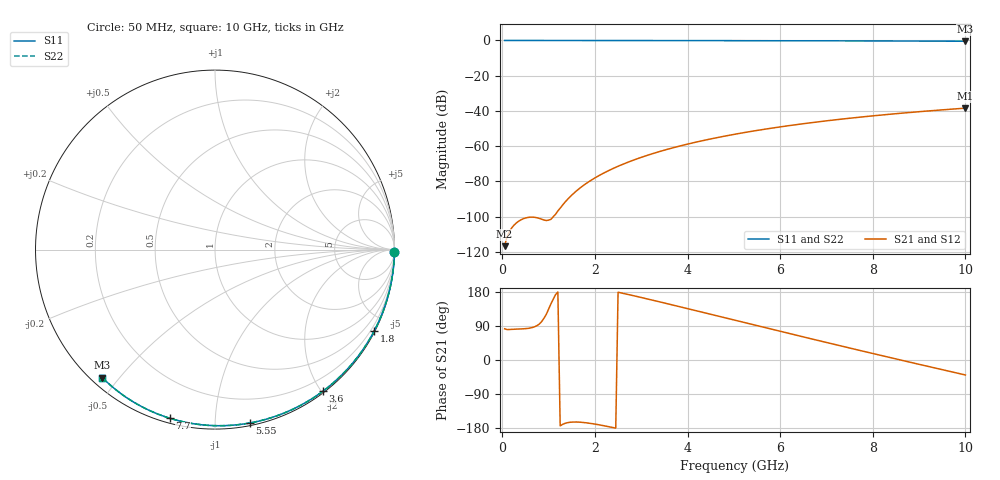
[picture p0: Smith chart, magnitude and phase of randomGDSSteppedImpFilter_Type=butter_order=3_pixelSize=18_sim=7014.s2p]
! freq	dB(S11)	phase(S11)	dB(S12)	phase(S12)
!  dB(S21)	phase(S21)	dB(S22)	phase(S22)
!S-par simulation data
#  GHz  S  DB  R 50
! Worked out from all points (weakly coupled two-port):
!   200 points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, 50 MHz to 10 GHz, reference 50 ohm
!   highest |S21| = -38.45 dB at 10 GHz (marker M1); lowest = -116.8 dB at 50 MHz (marker M2)
!   lowest |S11| = -0.4 dB at 10 GHz (marker M3), VSWR 39.11, Z = 1.54 - j22.6 ohm
!   |S11| at or under -10 dB: nowhere
!   |S22| runs from -0.4 to 0.0 dB; largest |S21 - S12| = 0
!   S11 on the Smith chart (normalised r, x): 50 MHz: open; 1.8 GHz: 0.04, -4.18; 3.6 GHz: 0.02, -2.02; 5.55 GHz: 0.02, -1.22; 7.7 GHz: 0.02, -0.77; 10 GHz: 0.03, -0.45
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0.05  -0.00 -0.8  -116.83 82.5  -116.83 82.5  -0.00 -0.8
0.9  -0.02 -13.6  -101.97 110.2  -101.97 110.2  -0.02 -13.6
1.75  -0.03 -26.2  -82.36 -164.9  -82.36 -164.9  -0.03 -26.2
1.8  -0.03 -26.9  -81.43 -165.6  -81.43 -165.6  -0.03 -26.9
1.85  -0.04 -27.7  -80.54 -166.3  -80.54 -166.3  -0.04 -27.6
1.9  -0.04 -28.4  -79.68 -167.2  -79.68 -167.2  -0.04 -28.4
2.05  -0.04 -30.6  -77.30 -170.2  -77.30 -170.2  -0.04 -30.6
2.25  -0.04 -33.5  -74.50 -174.8  -74.50 -174.8  -0.04 -33.5
2.45  -0.05 -36.4  -72.02 -179.9  -72.02 -179.9  -0.05 -36.4
2.65  -0.05 -39.3  -69.80 174.8  -69.80 174.8  -0.05 -39.2
3  -0.06 -44.2  -66.39 165.0  -66.39 165.0  -0.06 -44.2
3.4  -0.07 -49.9  -63.05 153.4  -63.05 153.4  -0.07 -49.8
3.6  -0.07 -52.6  -61.56 147.5  -61.56 147.5  -0.07 -52.6
4.3  -0.09 -62.2  -57.05 126.6  -57.05 126.6  -0.09 -62.2
5.05  -0.11 -72.2  -53.12 104.2  -53.12 104.2  -0.11 -72.1
5.55  -0.13 -78.6  -50.89 89.2  -50.89 89.2  -0.13 -78.6
6.1  -0.15 -85.6  -48.71 72.8  -48.71 72.8  -0.15 -85.6
6.7  -0.18 -93.0  -46.61 55.0  -46.61 55.0  -0.18 -93.0
7.7  -0.24 -105.0  -43.61 25.8  -43.61 25.8  -0.24 -105.0
8.35  -0.29 -112.6  -41.94 7.1  -41.94 7.1  -0.29 -112.5
9.15  -0.36 -121.7  -40.13 -15.7  -40.13 -15.7  -0.36 -121.7
10  -0.44 -131.3  -38.45 -39.6  -38.45 -39.6  -0.44 -131.3
